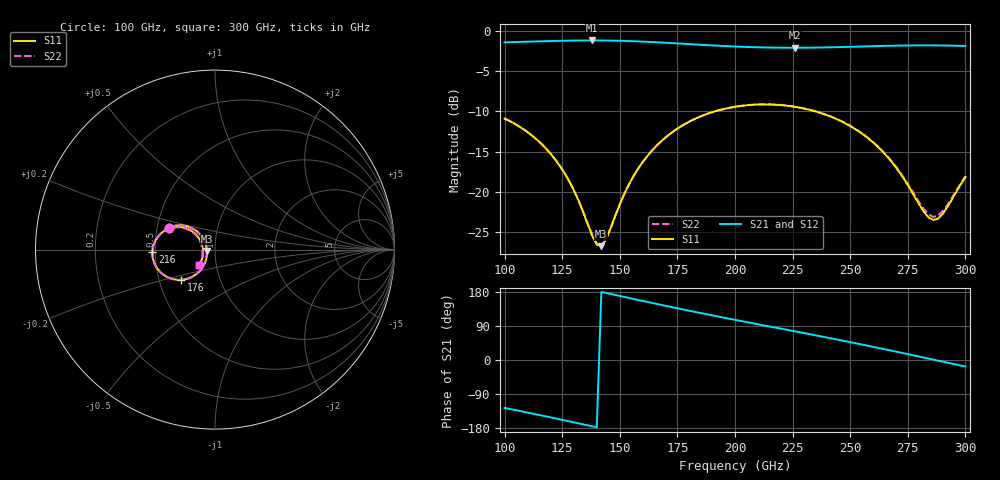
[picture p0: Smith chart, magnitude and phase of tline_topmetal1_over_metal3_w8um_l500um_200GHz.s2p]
#  GHZ S DB R 50
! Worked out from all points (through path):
!   101 points, 100 GHz to 300 GHz, reference 50 ohm
!   highest |S21| = -1.14 dB at 138 GHz (marker M1); lowest = -2.1 dB at 226 GHz (marker M2)
!   group delay of S21, straight-line fit = 3.45 ps
!   lowest |S11| = -26.8 dB at 142 GHz (marker M3), VSWR 1.10, Z = 45.7 - j0.745 ohm
!   |S11| at or under -10 dB: start of sweep to 191.1 GHz; 235.1 GHz to end of sweep
!   |S22| runs from -26.7 to -9.1 dB; largest |S21 - S12| = 9.7e-14
!   S11 on the Smith chart (normalised r, x): 100 GHz: 0.57, +0.15; 176 GHz: 0.65, -0.23; 216 GHz: 0.48, -0.02; 300 GHz: 0.83, -0.15
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100  -10.88 154.6  -1.37 -126.5  -1.37 -126.5  -10.87 154.8
110  -12.58 144.8  -1.30 -138.8  -1.30 -138.8  -12.57 145.0
120  -15.28 136.8  -1.22 -151.4  -1.22 -151.4  -15.27 137.1
128  -18.68 134.5  -1.17 -161.8  -1.17 -161.8  -18.65 134.9
134  -22.47 141.2  -1.15 -169.7  -1.15 -169.7  -22.41 141.6
138  -25.48 157.7  -1.14 -175.0  -1.14 -175.0  -25.38 158.0
142  -26.79 -169.8  -1.15 179.7  -1.15 179.7  -26.68 -169.9
144  -25.98 -153.4  -1.15 177.0  -1.15 177.0  -25.89 -153.7
156  -18.04 -124.9  -1.24 161.1  -1.24 161.1  -18.03 -125.0
168  -13.70 -131.1  -1.40 145.4  -1.40 145.4  -13.70 -131.0
176  -11.95 -138.2  -1.53 135.2  -1.53 135.2  -11.95 -138.1
188  -10.29 -149.9  -1.73 120.4  -1.73 120.4  -10.29 -149.7
200  -9.41 -161.9  -1.90 106.0  -1.90 106.0  -9.41 -161.7
216  -9.13 -177.7  -2.03 87.3  -2.03 87.3  -9.12 -177.4
226  -9.41 172.6  -2.05 75.7  -2.05 75.7  -9.40 172.9
234  -9.91 165.0  -2.03 66.3  -2.03 66.3  -9.90 165.4
252  -12.15 149.2  -1.92 44.7  -1.92 44.7  -12.13 149.9
268  -16.28 141.1  -1.80 24.6  -1.80 24.6  -16.20 142.1
282  -22.52 161.7  -1.76 6.4  -1.76 6.4  -22.20 162.7
286  -23.52 -178.6  -1.76 1.2  -1.76 1.2  -23.14 -178.5
290  -22.83 -157.8  -1.77 -4.1  -1.77 -4.1  -22.51 -158.7
300  -18.18 -135.2  -1.84 -17.2  -1.84 -17.2  -18.08 -136.2
